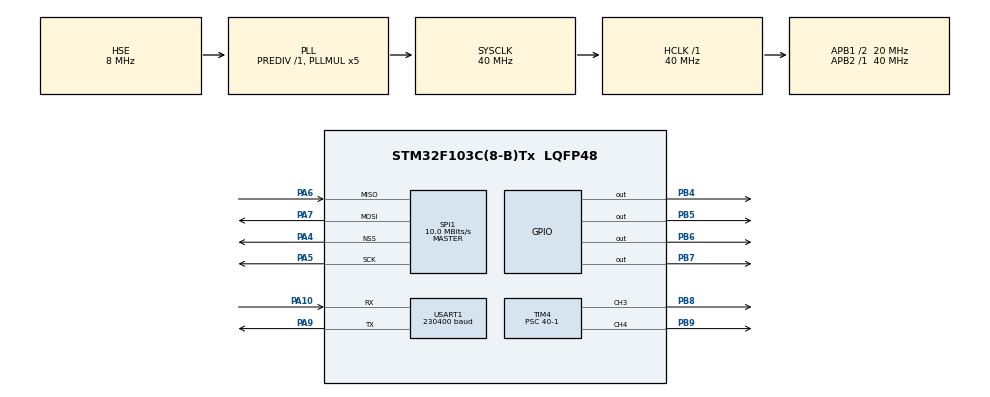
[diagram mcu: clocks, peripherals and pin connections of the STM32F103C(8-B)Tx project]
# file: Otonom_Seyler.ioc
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Mcu.Family=STM32F1
Mcu.Name=STM32F103C(8-B)Tx
Mcu.Package=LQFP48
NVIC.PriorityGroup=NVIC_PRIORITYGROUP_4
NVIC.USART1_IRQn=true\:0\:0\:false\:false\:true\:true\:true\:true
PA10.Mode=Asynchronous
PA10.Signal=USART1_RX
PA13.Mode=Serial_Wire
PA13.Signal=SYS_JTMS-SWDIO
PA14.Mode=Serial_Wire
PA14.Signal=SYS_JTCK-SWCLK
PA4.Mode=NSS_Signal_Hard_Output
PA4.Signal=SPI1_NSS
PA5.Mode=Full_Duplex_Master
PA5.Signal=SPI1_SCK
PA6.Mode=Full_Duplex_Master
PA6.Signal=SPI1_MISO
PA7.Mode=Full_Duplex_Master
PA7.Signal=SPI1_MOSI
PA9.Mode=Asynchronous
PA9.Signal=USART1_TX
PB4.Signal=GPIO_Output
PB5.Signal=GPIO_Output
PB6.Signal=GPIO_Output
PB7.Signal=GPIO_Output
PB8.Signal=S_TIM4_CH3
PB9.Signal=S_TIM4_CH4
PD0-OSC_IN.Mode=HSE-External-Oscillator
PD0-OSC_IN.Signal=RCC_OSC_IN
PD1-OSC_OUT.Mode=HSE-External-Oscillator
PD1-OSC_OUT.Signal=RCC_OSC_OUT
ProjectManager.HeapSize=0x200
ProjectManager.StackSize=0x400
ProjectManager.TargetToolchain=STM32CubeIDE
RCC.AHBFreq_Value=40000000
RCC.APB1CLKDivider=RCC_HCLK_DIV2
RCC.APB1Freq_Value=20000000
RCC.APB1TimFreq_Value=40000000
RCC.APB2Freq_Value=40000000
RCC.APB2TimFreq_Value=40000000
RCC.HCLKFreq_Value=40000000
RCC.PLLMUL=RCC_PLL_MUL5
RCC.PLLSourceVirtual=RCC_PLLSOURCE_HSE
RCC.RTCClockSelection=RCC_RTCCLKSOURCE_LSE
RCC.SYSCLKFreq_VALUE=40000000
RCC.SYSCLKSource=RCC_SYSCLKSOURCE_PLLCLK
RCC.USBFreq_Value=40000000
SH.S_TIM4_CH3.0=TIM4_CH3,PWM Generation3 CH3
SH.S_TIM4_CH4.0=TIM4_CH4,PWM Generation4 CH4
SPI1.BaudRatePrescaler=SPI_BAUDRATEPRESCALER_4
SPI1.CLKPhase=SPI_PHASE_2EDGE
SPI1.CLKPolarity=SPI_POLARITY_HIGH
SPI1.CRCCalculation=SPI_CRCCALCULATION_DISABLE
SPI1.CalculateBaudRate=10.0 MBits/s
SPI1.DataSize=SPI_DATASIZE_8BIT
SPI1.Direction=SPI_DIRECTION_2LINES
SPI1.FirstBit=SPI_FIRSTBIT_MSB
SPI1.Mode=SPI_MODE_MASTER
SPI1.VirtualNSS=VM_NSSHARD
SPI1.VirtualType=VM_MASTER
TIM1.Period=0xffff-1
TIM1.Prescaler=40-1
TIM4.Channel-PWM\ Generation3\ CH3=TIM_CHANNEL_3
TIM4.Channel-PWM\ Generation4\ CH4=TIM_CHANNEL_4
TIM4.Period=100-1
TIM4.Prescaler=40-1
USART1.BaudRate=230400
USART1.VirtualMode=VM_ASYNC
VP_TIM1_VS_ClockSourceINT.Mode=Internal
VP_TIM4_VS_ClockSourceINT.Mode=Internal
board=custom

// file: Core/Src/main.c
/* USER CODE BEGIN Header */
/**
  ******************************************************************************
  * @file           : main.c
  * @brief          : Main program body
  ******************************************************************************
  * @attention
  *
  * Copyright (c) 2023 STMicroelectronics.
  * All rights reserved.
  *
  * This software is licensed under terms that can be found in the LICENSE file
  * in the root directory of this software component.
  * If no LICENSE file comes with this software, it is provided AS-IS.
  *
  ******************************************************************************
  */
/* USER CODE END Header */
#include "main.h"

SPI_HandleTypeDef hspi1;

TIM_HandleTypeDef htim1;
TIM_HandleTypeDef htim4;

UART_HandleTypeDef huart1;

/* USER CODE BEGIN PV */
uint8_t vol_data0[7][2] = {{0},{0}};
int16_t data0[7] = {0};
char RxData[1];
double gyr_x = .0;
double gyr_y = .0;
double gyr_z = .0;
double acc_x = .0;
double acc_y = .0;
double acc_z = .0;
uint16_t timestamp = 0;
uint16_t old_timestamp = 0;
int delta_time = 0;
double imu_data[7] = {0};
/* USER CODE END PV */

void SystemClock_Config(void);
static void MX_GPIO_Init(void);
static void MX_SPI1_Init(void);
static void MX_TIM1_Init(void);
static void MX_TIM4_Init(void);
static void MX_USART1_UART_Init(void);
/* USER CODE BEGIN PFP */
void idleReadSPI(void);
int8_t chipID(void);
int8_t BMI160Read_Return(uint8_t address, size_t size, int timeout);
void BMI160Read(uint8_t *address, uint8_t *reply, size_t size, int timeout);
void BMI160Write(uint8_t address, uint8_t pValue,  int timeout);
void BMI160Init(void);
void foc(void);
int8_t offset_samples(int8_t *off2_vals);
int8_t BMI160R_Rtr_WDI(uint8_t address, size_t size, int timeout);
void delay_us(uint16_t us);
void BMI160_GetData(uint8_t address, uint8_t *vol_data[][2], size_t size, int timeout);

/* USER CODE END PFP */

/* USER CODE BEGIN 0 */
void HAL_UART_RxCpltCallback(UART_HandleTypeDef *huart)
{
  HAL_UART_Receive_IT(&huart1, RxData, 1);
  if(RxData[0] == '1'){
	  __HAL_TIM_SET_COMPARE(&htim4,TIM_CHANNEL_3,75); //Second motor 75% voltage
	  __HAL_TIM_SET_COMPARE(&htim4,TIM_CHANNEL_4,75);
  }
  else if(RxData[0] == '0'){
	  __HAL_TIM_SET_COMPARE(&htim4,TIM_CHANNEL_3,0); //Second motor 75% voltage
	  __HAL_TIM_SET_COMPARE(&htim4,TIM_CHANNEL_4,0);
  }
}

void HAL_UART_TxCpltCallback(UART_HandleTypeDef *huart)
{
   HAL_UART_Transmit_IT(&huart1, imu_data, sizeof (imu_data));
}
/* USER CODE END 0 */

int main(void)
{

  /* MCU Configuration--------------------------------------------------------*/

  /* Reset of all peripherals, Initializes the Flash interface and the Systick. */
  HAL_Init();

  /* Configure the system clock */
  SystemClock_Config();

  /* Initialize all configured peripherals */
  MX_GPIO_Init();
  MX_SPI1_Init();
  MX_TIM1_Init();
  MX_TIM4_Init();
  MX_USART1_UART_Init();
  /* USER CODE BEGIN 2 */

  HAL_TIM_Base_Start(&htim1);
  HAL_TIM_Base_Start(&htim4);               //Initialize stm32 timer 3
  HAL_TIM_PWM_Start(&htim4,TIM_CHANNEL_3);  //PB0 Start pwm second motor 100% duty cycle
  HAL_TIM_PWM_Start(&htim4,TIM_CHANNEL_4);

  HAL_GPIO_WritePin(GPIOB,GPIO_PIN_6,GPIO_PIN_SET);   // Start first motor clock wise rotation
  HAL_GPIO_WritePin(GPIOB,GPIO_PIN_7,GPIO_PIN_RESET);
  HAL_GPIO_WritePin(GPIOB,GPIO_PIN_4,GPIO_PIN_SET);   //Start second motor clock wise rotation
  HAL_GPIO_WritePin(GPIOB,GPIO_PIN_5,GPIO_PIN_RESET);

  HAL_UART_Receive_IT (&huart1, RxData, 1);
  HAL_UART_Transmit_IT(&huart1, imu_data, sizeof (imu_data));

  while(chipID()!=1){}
  HAL_Delay(100);
  BMI160Init();
  HAL_Delay(100);
  //-----"By burst reading FIFO data Register 0x24, data is read from FIFO every 50ms."-----//
  //----- Bu nedenle FIFO kullanılmadı zaten sensör kısıtlaması normal mod için min 2us.---//

//  uint8_t cmd_w = 0x7E;
//  uint8_t softreset = 0xB6;
//  uint8_t magif1 = BMI160Read_Return(0xCC,1,100);
//  HAL_Delay(100);
//
//  int8_t pmu_status = BMI160Read_Return(0x83,1,100);
//  HAL_Delay(100);

  //------------------Error Check------------------//
  uint8_t err = (uint8_t)BMI160Read_Return(0x82,1,100);
  HAL_Delay(100);

  foc();

/*  uint8_t vol_data1[7][2] = {{0},{0}};
  int16_t data1[7] = {0};

  BMI160_GetData(0x8C, &vol_data0,7,10);
  BMI160_GetData(0x8C, &vol_data1,7,10);

  for(int i = 0; i<7; ++i){
  		data0[i] = (vol_data0[i][1]<<8) | (vol_data0[i][0]);
  	}

  for(int i = 0; i<7; ++i){
    		data1[i] = (vol_data1[i][1]<<8) | (vol_data1[i][0]);
    }*/

  /* USER CODE END 2 */

  /* Infinite loop */
  while (1)
  {

    /* USER CODE BEGIN 3 */
	  //data0[0]= gyr_x
	  //data0[1]= gyr_y
	  //data0[2]= gyr_z
	  //data0[3]= acc_x
	  //data0[4]= acc_y
	  //data0[5]= acc_z
	  //data0[6]= timestamp
	  BMI160_GetData(0x8C, &vol_data0,7,10);
	  for(size_t i = 0; i<7; ++i){
			data0[i] = (vol_data0[i][1]<<8) | (vol_data0[i][0]);
	  }

	  for(size_t i = 0; i<3; ++i){
	  		imu_data[i] = (250.0/65536.0)*data0[i];
	  }
	  for(size_t i = 3; i<6; ++i){
	  	  	imu_data[i] = (32.0/65536.0)*data0[i];
	  }
	  gyr_x = (250.0/65536.0)*data0[0];
	  gyr_y = (250.0/65536.0)*data0[1];
	  gyr_z = (250.0/65536.0)*data0[2];
	  acc_x = (32.0/65536.0)*data0[3];
	  acc_y = (32.0/65536.0)*data0[4];
	  acc_z = (32.0/65536.0)*data0[5];
	  timestamp = data0[6];
	  if(timestamp - old_timestamp >0){
		  //delta_time = timestamp-old_timestamp;
		  imu_data[6] = (double)timestamp-old_timestamp;
	  }else{
		  //delta_time = (65535-old_timestamp)+timestamp;
		  imu_data[6] =(double)(65535.0-old_timestamp)+timestamp;
	  }
	  old_timestamp = timestamp;

  }
  /* USER CODE END 3 */
}

void SystemClock_Config(void)
{
  RCC_OscInitTypeDef RCC_OscInitStruct = {0};
  RCC_ClkInitTypeDef RCC_ClkInitStruct = {0};

  /** Initializes the RCC Oscillators according to the specified parameters
  * in the RCC_OscInitTypeDef structure.
  */
  RCC_OscInitStruct.OscillatorType = RCC_OSCILLATORTYPE_HSE;
  RCC_OscInitStruct.HSEState = RCC_HSE_ON;
  RCC_OscInitStruct.HSEPredivValue = RCC_HSE_PREDIV_DIV1;
  RCC_OscInitStruct.HSIState = RCC_HSI_ON;
  RCC_OscInitStruct.PLL.PLLState = RCC_PLL_ON;
  RCC_OscInitStruct.PLL.PLLSource = RCC_PLLSOURCE_HSE;
  RCC_OscInitStruct.PLL.PLLMUL = RCC_PLL_MUL5;
  if (HAL_RCC_OscConfig(&RCC_OscInitStruct) != HAL_OK)
  {
    Error_Handler();
  }

  /** Initializes the CPU, AHB and APB buses clocks
  */
  RCC_ClkInitStruct.ClockType = RCC_CLOCKTYPE_HCLK|RCC_CLOCKTYPE_SYSCLK
                              |RCC_CLOCKTYPE_PCLK1|RCC_CLOCKTYPE_PCLK2;
  RCC_ClkInitStruct.SYSCLKSource = RCC_SYSCLKSOURCE_PLLCLK;
  RCC_ClkInitStruct.AHBCLKDivider = RCC_SYSCLK_DIV1;
  RCC_ClkInitStruct.APB1CLKDivider = RCC_HCLK_DIV2;
  RCC_ClkInitStruct.APB2CLKDivider = RCC_HCLK_DIV1;

  if (HAL_RCC_ClockConfig(&RCC_ClkInitStruct, FLASH_LATENCY_1) != HAL_OK)
  {
    Error_Handler();
  }
}

static void MX_SPI1_Init(void)
{

  /* SPI1 parameter configuration*/
  hspi1.Instance = SPI1;
  hspi1.Init.Mode = SPI_MODE_MASTER;
  hspi1.Init.Direction = SPI_DIRECTION_2LINES;
  hspi1.Init.DataSize = SPI_DATASIZE_8BIT;
  hspi1.Init.CLKPolarity = SPI_POLARITY_HIGH;
  hspi1.Init.CLKPhase = SPI_PHASE_2EDGE;
  hspi1.Init.NSS = SPI_NSS_HARD_OUTPUT;
  hspi1.Init.BaudRatePrescaler = SPI_BAUDRATEPRESCALER_4;
  hspi1.Init.FirstBit = SPI_FIRSTBIT_MSB;
  hspi1.Init.TIMode = SPI_TIMODE_DISABLE;
  hspi1.Init.CRCCalculation = SPI_CRCCALCULATION_DISABLE;
  hspi1.Init.CRCPolynomial = 10;
  if (HAL_SPI_Init(&hspi1) != HAL_OK)
  {
    Error_Handler();
  }

}

static void MX_TIM1_Init(void)
{

  TIM_ClockConfigTypeDef sClockSourceConfig = {0};
  TIM_MasterConfigTypeDef sMasterConfig = {0};

  htim1.Instance = TIM1;
  htim1.Init.Prescaler = 40-1;
  htim1.Init.CounterMode = TIM_COUNTERMODE_UP;
  htim1.Init.Period = 0xffff-1;
  htim1.Init.ClockDivision = TIM_CLOCKDIVISION_DIV1;
  htim1.Init.RepetitionCounter = 0;
  htim1.Init.AutoReloadPreload = TIM_AUTORELOAD_PRELOAD_DISABLE;
  if (HAL_TIM_Base_Init(&htim1) != HAL_OK)
  {
    Error_Handler();
  }
  sClockSourceConfig.ClockSource = TIM_CLOCKSOURCE_INTERNAL;
  if (HAL_TIM_ConfigClockSource(&htim1, &sClockSourceConfig) != HAL_OK)
  {
    Error_Handler();
  }
  sMasterConfig.MasterOutputTrigger = TIM_TRGO_RESET;
  sMasterConfig.MasterSlaveMode = TIM_MASTERSLAVEMODE_DISABLE;
  if (HAL_TIMEx_MasterConfigSynchronization(&htim1, &sMasterConfig) != HAL_OK)
  {
    Error_Handler();
  }

}

static void MX_TIM4_Init(void)
{

  TIM_ClockConfigTypeDef sClockSourceConfig = {0};
  TIM_MasterConfigTypeDef sMasterConfig = {0};
  TIM_OC_InitTypeDef sConfigOC = {0};

  htim4.Instance = TIM4;
  htim4.Init.Prescaler = 40-1;
  htim4.Init.CounterMode = TIM_COUNTERMODE_UP;
  htim4.Init.Period = 100-1;
  htim4.Init.ClockDivision = TIM_CLOCKDIVISION_DIV1;
  htim4.Init.AutoReloadPreload = TIM_AUTORELOAD_PRELOAD_DISABLE;
  if (HAL_TIM_Base_Init(&htim4) != HAL_OK)
  {
    Error_Handler();
  }
  sClockSourceConfig.ClockSource = TIM_CLOCKSOURCE_INTERNAL;
  if (HAL_TIM_ConfigClockSource(&htim4, &sClockSourceConfig) != HAL_OK)
  {
    Error_Handler();
  }
  if (HAL_TIM_PWM_Init(&htim4) != HAL_OK)
  {
    Error_Handler();
  }
  sMasterConfig.MasterOutputTrigger = TIM_TRGO_RESET;
  sMasterConfig.MasterSlaveMode = TIM_MASTERSLAVEMODE_DISABLE;
  if (HAL_TIMEx_MasterConfigSynchronization(&htim4, &sMasterConfig) != HAL_OK)
  {
    Error_Handler();
  }
  sConfigOC.OCMode = TIM_OCMODE_PWM1;
  sConfigOC.Pulse = 0;
  sConfigOC.OCPolarity = TIM_OCPOLARITY_HIGH;
  sConfigOC.OCFastMode = TIM_OCFAST_DISABLE;
  if (HAL_TIM_PWM_ConfigChannel(&htim4, &sConfigOC, TIM_CHANNEL_3) != HAL_OK)
  {
    Error_Handler();
  }
  if (HAL_TIM_PWM_ConfigChannel(&htim4, &sConfigOC, TIM_CHANNEL_4) != HAL_OK)
  {
    Error_Handler();
  }
  HAL_TIM_MspPostInit(&htim4);

}

static void MX_USART1_UART_Init(void)
{

  huart1.Instance = USART1;
  huart1.Init.BaudRate = 230400;
  huart1.Init.WordLength = UART_WORDLENGTH_8B;
  huart1.Init.StopBits = UART_STOPBITS_1;
  huart1.Init.Parity = UART_PARITY_NONE;
  huart1.Init.Mode = UART_MODE_TX_RX;
  huart1.Init.HwFlowCtl = UART_HWCONTROL_NONE;
  huart1.Init.OverSampling = UART_OVERSAMPLING_16;
  if (HAL_UART_Init(&huart1) != HAL_OK)
  {
    Error_Handler();
  }

}

static void MX_GPIO_Init(void)
{
  GPIO_InitTypeDef GPIO_InitStruct = {0};

  /* GPIO Ports Clock Enable */
  __HAL_RCC_GPIOD_CLK_ENABLE();
  __HAL_RCC_GPIOA_CLK_ENABLE();
  __HAL_RCC_GPIOB_CLK_ENABLE();

  /*Configure GPIO pin Output Level */
  HAL_GPIO_WritePin(GPIOB, GPIO_PIN_4|GPIO_PIN_5|GPIO_PIN_6|GPIO_PIN_7, GPIO_PIN_RESET);

  /*Configure GPIO pins : PB4 PB5 PB6 PB7 */
  GPIO_InitStruct.Pin = GPIO_PIN_4|GPIO_PIN_5|GPIO_PIN_6|GPIO_PIN_7;
  GPIO_InitStruct.Mode = GPIO_MODE_OUTPUT_PP;
  GPIO_InitStruct.Pull = GPIO_NOPULL;
  GPIO_InitStruct.Speed = GPIO_SPEED_FREQ_LOW;
  HAL_GPIO_Init(GPIOB, &GPIO_InitStruct);

}

/* USER CODE BEGIN 4 */
void idleReadSPI(void){
	//BMI160'a SPI başlatıldığını haber vermek için, NSS pinini low-high toggle yapılmalı
	uint8_t idle_address[1] = {0xFF};
	uint8_t idle_reply[1] = {0};
	HAL_SPI_Init(&hspi1);
	HAL_SPI_Transmit(&hspi1, idle_address, 1, 100);
	HAL_SPI_Receive(&hspi1, idle_reply,1,100);
	HAL_SPI_DeInit(&hspi1);
}

int8_t chipID(void){
	//BMI160 Basic Kontrol
	idleReadSPI();
	uint8_t address = 0x80;
	uint8_t reply = 0;
	HAL_SPI_Init(&hspi1);
	HAL_SPI_Transmit(&hspi1, &address, 1, 100);
	HAL_SPI_Receive(&hspi1, &reply,1,100);
	HAL_SPI_DeInit(&hspi1);
	return ((uint8_t)reply==0xD1) ? 1 : 0;
}

int8_t BMI160Read_Return(uint8_t address, size_t size, int timeout){
	uint8_t reply = 0;
	HAL_SPI_Init(&hspi1);
	HAL_SPI_Transmit(&hspi1, &address, size, timeout);
	HAL_SPI_Receive(&hspi1, &reply, size, timeout);
	HAL_SPI_DeInit(&hspi1);
	return reply;
}

void BMI160_GetData(uint8_t address, uint8_t *vol_data[][2], size_t size, int timeout){
	HAL_SPI_Init(&hspi1);
	HAL_SPI_Transmit(&hspi1, &address, 1, timeout);
	HAL_SPI_Receive(&hspi1, vol_data, size*2, timeout);
	HAL_SPI_DeInit(&hspi1);
}

void BMI160Write(uint8_t address, uint8_t pValue,  int timeout){
	HAL_SPI_Init(&hspi1);
	HAL_SPI_Transmit(&hspi1, &address, 1, timeout);
	HAL_SPI_Transmit(&hspi1, &pValue, 1, timeout);
	HAL_SPI_DeInit(&hspi1);
}

void BMI160Init(void){
	BMI160Write(0X4C,0x00,100); //mag_manuel_en = 0
	HAL_Delay(100);
	BMI160Write(0x7E,0b00010001,100); //acc_pmu_status = normal
	HAL_Delay(100);
	BMI160Write(0x7E,0b00010101,100); //gyr_pmu_status = normal
	HAL_Delay(100);
	BMI160Write(0x7E,0b00011000,100); //mag_pmu_status = suspend
	HAL_Delay(100);
	BMI160Write(0x40,0b00001100,100); //acc_conf = OSR4, ODR 1600HZ -> Bu kısım değiştirilip gözlem yapılabilir
	HAL_Delay(100);
	BMI160Write(0x41,0b00001100,100); //acc_range = ±16g range
	HAL_Delay(100);
	BMI160Write(0x42,0b00001100,100); //gyr_conf = OSR4, ODR 1600HZ -> Bu kısım değiştirilip gözlem yapılabilir
	HAL_Delay(100);
	BMI160Write(0x43,0b00000100,100); //gyr_range = ±125°/s
	HAL_Delay(100);
}

void foc(void){
	HAL_Delay(100);
	BMI160Write(0x77,0b11000000,100); //gyr_off_en = 1, acc_off_en = 1;
	HAL_Delay(100);
	BMI160Write(0x69,0b01111101,100); //foc_gyr_en = 1, foc_acc_x = 11, foc_acc_y = 11, foc_acc_z = 01
	HAL_Delay(100);
	BMI160Write(0x7E,0b00000011,100); //CMD->start_foc
	HAL_Delay(1000);
	uint8_t status= (uint8_t)BMI160Read_Return(0x9B,1,100);
	HAL_Delay(1);
	uint8_t foc_rdy = (1<<3);
	while((status&foc_rdy)!=0x08){
		status= (uint8_t)BMI160Read_Return(0x9B,1,100);
		HAL_Delay(1);
	}
}

int8_t offset_samples(int8_t *off2_vals){
	//Gürültülü ortamda offset değerini en iyi belirleyebilmek için belirli aralıklarla sample
	//alınması için yazıldı. Alınan sample'lar median filtresinden geçirilip sonra elde edilen
	//verilerin ortalaması, medyanı veya modu hesaplanıp offset değeri olarak kullanılabilir.
	//Ya da kullanıcı offset değerini ayarlayabilir; z ekseni için; z ekseninde alınan raw verileri
	//işleme sokarak ona uygun bir offset değeri bulunabilir. raw verinin modundan 1G'ye eşitlenmesi
	//için çıkarılması gereken değer offset verisi olabilir.
	HAL_Delay(10);
	BMI160Write(0x69,0b01111101,100); //foc_gyr_en = 1, foc_acc_x = 11, foc_acc_y = 11, foc_acc_z = 01
	HAL_Delay(10);
	for(int i = 0; i<10; ++i){ //10 sample
		BMI160Write(0x7E,0b00000011,100); //CMD->start_foc
		HAL_Delay(1000);
		uint8_t status= (uint8_t)BMI160Read_Return(0x9B,1,100);
		HAL_Delay(1);
		uint8_t foc_rdy = (1<<3);
		while((status&foc_rdy)!=0x08){
			status= (uint8_t)BMI160Read_Return(0x9B,1,100);
		}
		int8_t offset2 = BMI160Read_Return(0xF3,1,100);
		*off2_vals = offset2;
		++off2_vals;
	}
	return 1;
}

void delay_us(uint16_t us){
	__HAL_TIM_SET_COUNTER(&htim1,0);  // set the counter value a 0
	while (__HAL_TIM_GET_COUNTER(&htim1) < us);  // wait for the counter to reach the us input in the parameter
}

/* USER CODE END 4 */

void Error_Handler(void)
{
  __disable_irq();
  while (1)
  {
  }
}
